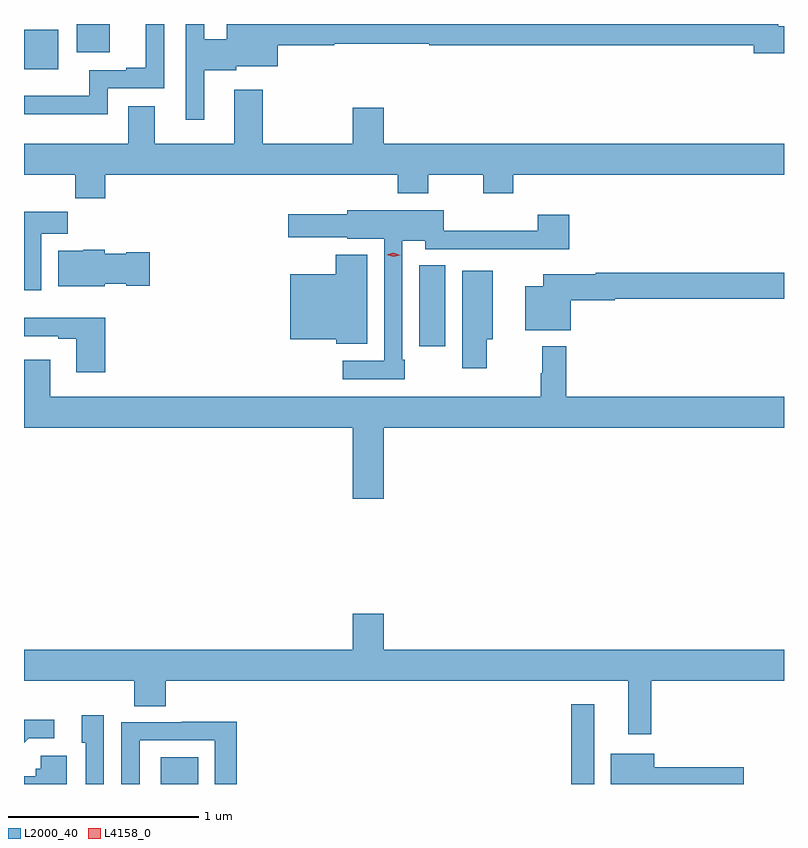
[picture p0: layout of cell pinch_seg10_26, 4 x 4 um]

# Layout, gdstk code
import gdstk
lib = gdstk.Library(unit=1e-6, precision=1e-09)
def R(c, l, rs):  # rectangles x0, y0, x1, y1
    for r in rs: c.add(gdstk.rectangle(r[:2], r[2:], *l))
def P(c, l, *ps):  # polygons
    for p in ps: c.add(gdstk.Polygon(p, *l))
L2000_40 = (2000, 40)
L4158_0 = (4158, 0)

pinch_seg10_26 = lib.new_cell('pinch_seg10_26')
R(pinch_seg10_26, L2000_40, [(943.217,1317.089,943.414,1317.229), (945.378,1317.089,945.499,1317.508), (944.579,1319.394,944.716,1319.819), (942.498,1320.851,942.679,1321.06), (942.776,1320.941,942.949,1321.089)])
P(pinch_seg10_26, L2000_40, [(942.939,1320.75),(943.236,1320.75),(943.236,1321.089),(943.139,1321.089),(943.139,1320.859),(943.036,1320.859),(943.036,1320.846),(942.842,1320.846),(942.842,1320.712),(942.498,1320.712),(942.498,1320.614),(942.939,1320.614)],
  [(943.447,1320.845),(943.614,1320.845),(943.614,1320.866),(943.834,1320.866),(943.834,1320.976),(944.13,1320.976),(944.13,1320.984),(944.63,1320.984),(944.63,1320.976),(946.34,1320.976),(946.34,1320.934),(946.498,1320.934),(946.498,1321.076),(946.468,1321.076),(946.468,1321.089),(943.565,1321.089),(943.565,1321.009),(943.446,1321.009),(943.446,1321.089),(943.35,1321.089),(943.35,1320.585),(943.447,1320.585)],
  [(942.926,1320.296),(944.465,1320.296),(944.465,1320.197),(944.625,1320.197),(944.625,1320.296),(944.914,1320.296),(944.914,1320.197),(945.074,1320.197),(945.074,1320.296),(946.498,1320.296),(946.498,1320.46),(944.392,1320.46),(944.392,1320.649),(944.228,1320.649),(944.228,1320.46),(943.755,1320.46),(943.755,1320.742),(943.604,1320.742),(943.604,1320.46),(943.186,1320.46),(943.186,1320.655),(943.046,1320.655),(943.046,1320.46),(942.498,1320.46),(942.498,1320.296),(942.769,1320.296),(942.769,1320.172),(942.926,1320.172)],
  [(944.503,1319.323),(944.49,1319.323),(944.49,1319.948),(944.61,1319.948),(944.61,1319.904),(945.119,1319.904),(945.119,1319.903),(945.368,1319.903),(945.368,1320.085),(945.203,1320.085),(945.203,1320.002),(944.706,1320.002),(944.706,1320.109),(944.199,1320.109),(944.199,1320.088),(943.89,1320.088),(943.89,1319.966),(944.199,1319.966),(944.199,1319.96),(944.394,1319.96),(944.394,1319.316),(944.175,1319.316),(944.175,1319.22),(944.503,1319.22)],
  [(942.589,1319.984),(942.728,1319.984),(942.728,1320.102),(942.498,1320.102),(942.498,1319.688),(942.589,1319.688)],
  [(942.924,1319.723),(943.035,1319.723),(943.035,1319.711),(943.159,1319.711),(943.159,1319.889),(943.035,1319.889),(943.035,1319.881),(942.924,1319.881),(942.924,1319.902),(942.81,1319.902),(942.81,1319.896),(942.677,1319.896),(942.677,1319.708),(942.924,1319.708)],
  [(944.305,1319.875),(944.138,1319.875),(944.138,1319.773),(943.898,1319.773),(943.898,1319.429),(944.142,1319.429),(944.142,1319.405),(944.305,1319.405)],
  [(944.934,1319.429),(944.965,1319.429),(944.965,1319.791),(944.804,1319.791),(944.804,1319.277),(944.934,1319.277)],
  [(945.376,1319.636),(945.606,1319.636),(945.606,1319.644),(946.498,1319.644),(946.498,1319.78),(945.506,1319.78),(945.506,1319.773),(945.23,1319.773),(945.23,1319.71),(945.137,1319.71),(945.137,1319.477),(945.376,1319.477)],
  [(942.926,1319.542),(942.498,1319.542),(942.498,1319.445),(942.677,1319.445),(942.677,1319.433),(942.773,1319.433),(942.773,1319.256),(942.926,1319.256)],
  [(944.392,1318.964),(946.498,1318.964),(946.498,1319.128),(945.353,1319.128),(945.353,1319.392),(945.225,1319.392),(945.225,1319.252),(945.217,1319.252),(945.217,1319.128),(942.637,1319.128),(942.637,1319.323),(942.498,1319.323),(942.498,1318.964),(944.228,1318.964),(944.228,1318.59),(944.392,1318.59)],
  [(945.799,1317.632),(946.498,1317.632),(946.498,1317.796),(944.392,1317.796),(944.392,1317.985),(944.228,1317.985),(944.228,1317.796),(942.498,1317.796),(942.498,1317.632),(943.079,1317.632),(943.079,1317.499),(943.244,1317.499),(943.244,1317.632),(945.677,1317.632),(945.677,1317.351),(945.799,1317.351)],
  [(942.918,1317.451),(942.803,1317.451),(942.803,1317.306),(942.822,1317.306),(942.822,1317.089),(942.918,1317.089)],
  [(942.523,1317.33),(942.658,1317.33),(942.658,1317.428),(942.498,1317.428),(942.498,1317.305)],
  [(943.107,1317.318),(943.503,1317.318),(943.503,1317.089),(943.619,1317.089),(943.619,1317.416),(943.327,1317.416),(943.327,1317.414),(943.011,1317.414),(943.011,1317.089),(943.107,1317.089)],
  [(946.285,1317.177),(945.814,1317.177),(945.814,1317.247),(945.587,1317.247),(945.587,1317.089),(946.285,1317.089)],
  [(942.724,1317.238),(942.585,1317.238),(942.585,1317.168),(942.559,1317.168),(942.559,1317.13),(942.498,1317.13),(942.498,1317.089),(942.724,1317.089)])
P(pinch_seg10_26, L4158_0, [(944.442,1319.864),(944.408,1319.874),(944.407,1319.874),(944.408,1319.874),(944.442,1319.884),(944.477,1319.873),(944.477,1319.873),(944.477,1319.873)])

lib.write_gds('pinch_seg10_26.gds')
